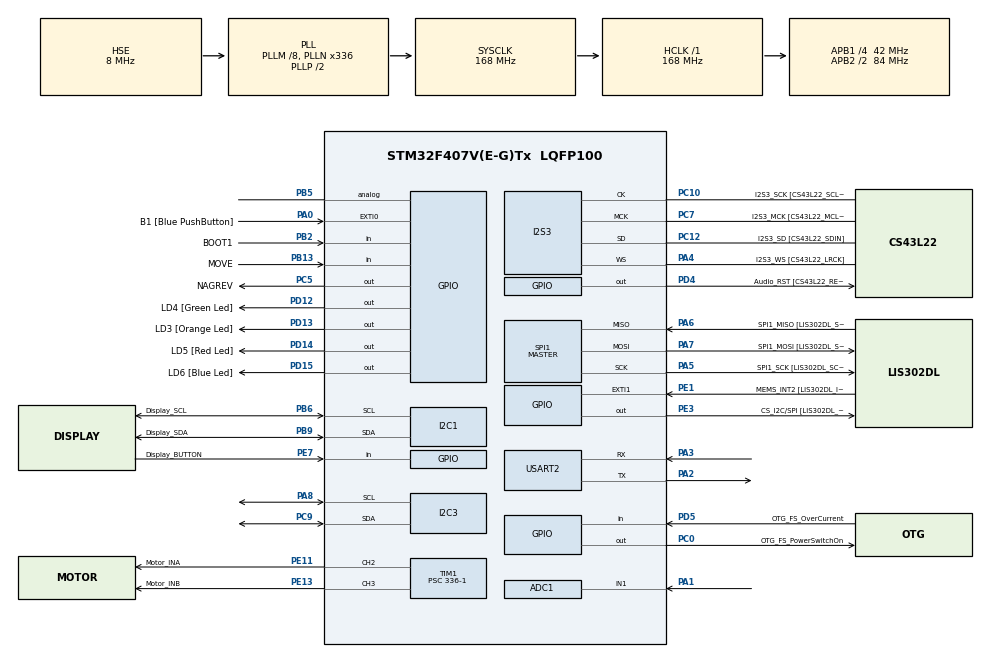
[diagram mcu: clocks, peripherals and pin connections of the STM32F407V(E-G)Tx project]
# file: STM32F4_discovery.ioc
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ADC1.Channel-0\#ChannelRegularConversion=ADC_CHANNEL_1
ADC1.NbrOfConversionFlag=1
ADC1.Rank-0\#ChannelRegularConversion=1
ADC1.SamplingTime-0\#ChannelRegularConversion=ADC_SAMPLETIME_3CYCLES
ADC1.master=1
Dma.ADC1.0.Direction=DMA_PERIPH_TO_MEMORY
Dma.ADC1.0.FIFOMode=DMA_FIFOMODE_DISABLE
Dma.ADC1.0.Instance=DMA2_Stream0
Dma.ADC1.0.MemDataAlignment=DMA_MDATAALIGN_HALFWORD
Dma.ADC1.0.MemInc=DMA_MINC_ENABLE
Dma.ADC1.0.Mode=DMA_CIRCULAR
Dma.ADC1.0.PeriphDataAlignment=DMA_PDATAALIGN_HALFWORD
Dma.ADC1.0.PeriphInc=DMA_PINC_DISABLE
Dma.ADC1.0.Priority=DMA_PRIORITY_LOW
Dma.Request0=ADC1
I2C1.I2C_Mode=I2C_Fast
I2C3.I2C_Mode=I2C_Fast
I2S3.AudioFreq-Half_Duplex_Master=I2S_AUDIOFREQ_96K
I2S3.ErrorAudioFreq=-2.34 %
I2S3.ErrorAudioFreq-Half_Duplex_Master=0.8 %
I2S3.FullDuplexMode=I2S_FULLDUPLEXMODE_DISABLE
I2S3.Instance=SPI$Index
I2S3.RealAudioFreq=93.75 KHz
I2S3.RealAudioFreq-Half_Duplex_Master=96.774 KHz
I2S3.VirtualMode=I2S_MODE_MASTER
Mcu.Family=STM32F4
Mcu.Name=STM32F407V(E-G)Tx
Mcu.Package=LQFP100
NVIC.DMA2_Stream0_IRQn=true\:0\:0\:false\:false\:true\:false\:true
NVIC.PriorityGroup=NVIC_PRIORITYGROUP_0
NVIC.USART2_IRQn=true\:0\:0\:false\:false\:true\:true\:true
PA0-WKUP.GPIO_Label=B1 [Blue PushButton]
PA0-WKUP.GPIO_ModeDefaultEXTI=GPIO_MODE_EVT_RISING
PA0-WKUP.GPIO_PuPd=GPIO_NOPULL
PA0-WKUP.Signal=GPXTI0
PA1.Signal=ADCx_IN1
PA12.GPIO_Label=OTG_FS_DP
PA12.GPIO_Mode=GPIO_MODE_AF_PP
PA12.GPIO_PuPd=GPIO_NOPULL
PA12.GPIO_Speed=GPIO_SPEED_FREQ_LOW
PA12.Signal=USB_OTG_FS_DP
PA13.GPIO_Label=SWDIO
PA13.Mode=Serial_Wire
PA13.Signal=SYS_JTMS-SWDIO
PA14.GPIO_Label=SWCLK
PA14.Mode=Serial_Wire
PA14.Signal=SYS_JTCK-SWCLK
PA2.Mode=Asynchronous
PA2.Signal=USART2_TX
PA3.Mode=Asynchronous
PA3.Signal=USART2_RX
PA4.GPIO_Label=I2S3_WS [CS43L22_LRCK]
PA4.GPIO_Mode=GPIO_MODE_AF_PP
PA4.GPIO_PuPd=GPIO_NOPULL
PA4.GPIO_Speed=GPIO_SPEED_FREQ_LOW
PA4.Mode=Half_Duplex_Master
PA4.Signal=I2S3_WS
PA5.GPIO_Label=SPI1_SCK [LIS302DL_SCL/SPC]
PA5.GPIO_Mode=GPIO_MODE_AF_PP
PA5.GPIO_PuPd=GPIO_NOPULL
PA5.GPIO_Speed=GPIO_SPEED_FREQ_LOW
PA5.Mode=Full_Duplex_Master
PA5.Signal=SPI1_SCK
PA6.GPIO_Label=SPI1_MISO [LIS302DL_SDO]
PA6.GPIO_Mode=GPIO_MODE_AF_PP
PA6.GPIO_PuPd=GPIO_NOPULL
PA6.GPIO_Speed=GPIO_SPEED_FREQ_LOW
PA6.Mode=Full_Duplex_Master
PA6.Signal=SPI1_MISO
PA7.GPIO_Label=SPI1_MOSI [LIS302DL_SDA/SDI/SDO]
PA7.GPIO_Mode=GPIO_MODE_AF_PP
PA7.GPIO_PuPd=GPIO_NOPULL
PA7.GPIO_Speed=GPIO_SPEED_FREQ_LOW
PA7.Mode=Full_Duplex_Master
PA7.Signal=SPI1_MOSI
PA8.Mode=I2C
PA8.Signal=I2C3_SCL
PA9.GPIO_Label=VBUS_FS
PA9.GPIO_Mode=GPIO_MODE_INPUT
PA9.GPIO_PuPd=GPIO_NOPULL
PA9.Signal=USB_OTG_FS_VBUS
PB10.GPIO_Label=CLK_IN [MP45DT02_CLK]
PB10.GPIO_Mode=GPIO_MODE_AF_PP
PB10.GPIO_PuPd=GPIO_NOPULL
PB10.GPIO_Speed=GPIO_SPEED_FREQ_LOW
PB10.Signal=I2S2_CK
PB13.GPIO_Label=MOVE
PB13.Signal=GPIO_Input
PB2.GPIO_Label=BOOT1
PB2.GPIO_Mode=GPIO_MODE_INPUT
PB2.GPIO_PuPd=GPIO_NOPULL
PB2.Signal=GPIO_Input
PB3.GPIO_Label=SWO
PB3.Signal=SYS_JTDO-SWO
PB5.Signal=GPIO_Analog
PB6.GPIO_Label=Display_SCL
PB6.GPIO_Mode=GPIO_MODE_AF_OD
PB6.GPIO_PuPd=GPIO_NOPULL
PB6.GPIO_Speed=GPIO_SPEED_FREQ_LOW
PB6.Mode=I2C
PB6.Signal=I2C1_SCL
PB9.GPIO_Label=Display_SDA
PB9.GPIO_Mode=GPIO_MODE_AF_OD
PB9.GPIO_PuPd=GPIO_NOPULL
PB9.GPIO_Speed=GPIO_SPEED_FREQ_LOW
PB9.Mode=I2C
PB9.Signal=I2C1_SDA
PC0.GPIO_Label=OTG_FS_PowerSwitchOn
PC0.GPIO_PuPd=GPIO_NOPULL
PC0.GPIO_Speed=GPIO_SPEED_FREQ_LOW
PC0.PinState=GPIO_PIN_SET
PC0.Signal=GPIO_Output
PC10.GPIO_Label=I2S3_SCK [CS43L22_SCLK]
PC10.GPIO_Mode=GPIO_MODE_AF_PP
PC10.GPIO_PuPd=GPIO_NOPULL
PC10.GPIO_Speed=GPIO_SPEED_FREQ_LOW
PC10.Mode=Half_Duplex_Master
PC10.Signal=I2S3_CK
PC12.GPIO_Label=I2S3_SD [CS43L22_SDIN]
PC12.GPIO_Mode=GPIO_MODE_AF_PP
PC12.GPIO_PuPd=GPIO_NOPULL
PC12.GPIO_Speed=GPIO_SPEED_FREQ_LOW
PC12.Mode=Half_Duplex_Master
PC12.Signal=I2S3_SD
PC14-OSC32_IN.GPIO_Label=PC14-OSC32_IN
PC14-OSC32_IN.Mode=LSE-External-Oscillator
PC14-OSC32_IN.Signal=RCC_OSC32_IN
PC15-OSC32_OUT.GPIO_Label=PC15-OSC32_OUT
PC15-OSC32_OUT.Mode=LSE-External-Oscillator
PC15-OSC32_OUT.Signal=RCC_OSC32_OUT
PC3.GPIO_Label=PDM_OUT [MP45DT02_DOUT]
PC3.GPIO_Mode=GPIO_MODE_AF_PP
PC3.GPIO_PuPd=GPIO_NOPULL
PC3.GPIO_Speed=GPIO_SPEED_FREQ_LOW
PC3.Signal=I2S2_SD
PC5.GPIO_Label=NAGREV
PC5.GPIO_PuPd=GPIO_PULLDOWN
PC5.Signal=GPIO_Output
PC7.GPIO_Label=I2S3_MCK [CS43L22_MCLK]
PC7.GPIO_Mode=GPIO_MODE_AF_PP
PC7.GPIO_PuPd=GPIO_NOPULL
PC7.GPIO_Speed=GPIO_SPEED_FREQ_LOW
PC7.Mode=Master_Clock_Activated
PC7.Signal=I2S3_MCK
PC9.Mode=I2C
PC9.Signal=I2C3_SDA
PD12.GPIO_Label=LD4 [Green Led]
PD12.GPIO_PuPd=GPIO_NOPULL
PD12.GPIO_Speed=GPIO_SPEED_FREQ_LOW
PD12.Signal=GPIO_Output
PD13.GPIO_Label=LD3 [Orange Led]
PD13.GPIO_PuPd=GPIO_NOPULL
PD13.GPIO_Speed=GPIO_SPEED_FREQ_LOW
PD13.Signal=GPIO_Output
PD14.GPIO_Label=LD5 [Red Led]
PD14.GPIO_PuPd=GPIO_NOPULL
PD14.GPIO_Speed=GPIO_SPEED_FREQ_LOW
PD14.Signal=GPIO_Output
PD15.GPIO_Label=LD6 [Blue Led]
PD15.GPIO_PuPd=GPIO_NOPULL
PD15.GPIO_Speed=GPIO_SPEED_FREQ_LOW
PD15.Signal=GPIO_Output
PD4.GPIO_Label=Audio_RST [CS43L22_RESET]
PD4.GPIO_PuPd=GPIO_NOPULL
PD4.GPIO_Speed=GPIO_SPEED_FREQ_LOW
PD4.Signal=GPIO_Output
PD5.GPIO_Label=OTG_FS_OverCurrent
PD5.GPIO_Mode=GPIO_MODE_INPUT
PD5.GPIO_PuPd=GPIO_NOPULL
PD5.Signal=GPIO_Input
PE1.GPIO_Label=MEMS_INT2 [LIS302DL_INT2]
PE1.GPIO_ModeDefaultEXTI=GPIO_MODE_EVT_RISING
PE1.GPIO_PuPd=GPIO_NOPULL
PE1.Signal=GPXTI1
PE11.GPIO_Label=Motor_INA
PE11.GPIO_Speed=GPIO_SPEED_FREQ_MEDIUM
PE11.Signal=S_TIM1_CH2
PE13.GPIO_Label=Motor_INB
PE13.GPIO_Speed=GPIO_SPEED_FREQ_MEDIUM
PE13.Signal=S_TIM1_CH3
PE3.GPIO_Label=CS_I2C/SPI [LIS302DL_CS_I2C/SPI]
PE3.GPIO_PuPd=GPIO_NOPULL
PE3.GPIO_Speed=GPIO_SPEED_FREQ_LOW
PE3.Signal=GPIO_Output
PE7.GPIO_Label=Display_BUTTON
PE7.Signal=GPIO_Input
PH0-OSC_IN.GPIO_Label=PH0-OSC_IN
PH0-OSC_IN.Mode=HSE-External-Oscillator
PH0-OSC_IN.Signal=RCC_OSC_IN
PH1-OSC_OUT.GPIO_Label=PH1-OSC_OUT
PH1-OSC_OUT.Mode=HSE-External-Oscillator
PH1-OSC_OUT.Signal=RCC_OSC_OUT
ProjectManager.HeapSize=0x200
ProjectManager.StackSize=0x400
ProjectManager.TargetToolchain=STM32CubeIDE
RCC.48MHZClocksFreq_Value=48000000
RCC.AHBFreq_Value=168000000
RCC.APB1CLKDivider=RCC_HCLK_DIV4
RCC.APB1Freq_Value=42000000
RCC.APB1TimFreq_Value=84000000
RCC.APB2CLKDivider=RCC_HCLK_DIV2
RCC.APB2Freq_Value=84000000
RCC.APB2TimFreq_Value=168000000
RCC.CortexFreq_Value=168000000
RCC.HCLKFreq_Value=168000000
RCC.HSE_VALUE=8000000
RCC.HSI_VALUE=16000000
RCC.PLLM=8
RCC.PLLN=336
RCC.PLLQ=7
RCC.PLLSourceVirtual=RCC_PLLSOURCE_HSE
RCC.SYSCLKFreq_VALUE=168000000
RCC.SYSCLKSource=RCC_SYSCLKSOURCE_PLLCLK
RCC.VCOOutputFreq_Value=336000000
SH.ADCx_IN1.0=ADC1_IN1,IN1
SH.S_TIM1_CH2.0=TIM1_CH2,PWM Generation2 CH2
SH.S_TIM1_CH3.0=TIM1_CH3,PWM Generation3 CH3
SPI1.BaudRatePrescaler-Full_Duplex_Master=SPI_BAUDRATEPRESCALER_2
SPI1.CalculateBaudRate-Full_Duplex_Master=42.0 MBits/s
SPI1.Direction=SPI_DIRECTION_2LINES
SPI1.Mode=SPI_MODE_MASTER
SPI1.Mode-Full_Duplex_Master=SPI_MODE_MASTER
SPI1.VirtualType=VM_MASTER
TIM1.Channel-PWM\ Generation2\ CH2=TIM_CHANNEL_2
TIM1.Channel-PWM\ Generation3\ CH3=TIM_CHANNEL_3
TIM1.Period=500-1
TIM1.Prescaler=336-1
TIM6.Period=700-1
TIM6.Prescaler=6000-1
USART2.VirtualMode=VM_ASYNC
VP_TIM6_VS_ClockSourceINT.Mode=Enable_Timer
board=STM32F407G-DISC1

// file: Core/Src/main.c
/* USER CODE BEGIN Header */
/**
  ******************************************************************************
  * @file           : main.c
  * @brief          : Main program body
  ******************************************************************************
  * @attention
  *
  * <h2><center>&copy; Copyright (c) 2022 STMicroelectronics.
  * All rights reserved.</center></h2>
  *
  * This software component is licensed by ST under Ultimate Liberty license
  * SLA0044, the "License"; You may not use this file except in compliance with
  * the License. You may obtain a copy of the License at:
  *                             www.st.com/SLA0044
  *
  ******************************************************************************
  */
/* USER CODE END Header */
#include "main.h"

/* USER CODE BEGIN Includes */
#include <string.h>
#include "ssd1306.h"
#include "fonts.h"
#include "test.h"
#include <math.h>
#include "horse_animation.h"
#include <stdio.h>

/* USER CODE END Includes */

/* USER CODE BEGIN PTD */
uint8_t pBuffer[64];
uint16_t speed_1 = 0;
uint8_t Rh_byte1, Rh_byte2, Temp_byte1, Temp_byte2;
uint16_t SUM, RH, TEMP;

float Temperature = 0;
float Humidity = 0;
uint8_t Presence = 0;
float needed_temp = 25;

int cycle_counter = 0;
int vent_status = 0;
int heat_status = 0;
int door_status = 0;
int Dis_Button = 0;

/* USER CODE END PTD */

/* USER CODE BEGIN PD */
#define DHT11_PORT GPIOA
#define DHT11_PIN GPIO_PIN_5

#define    DWT_CYCCNT    *(volatile unsigned long *)0xE0001004
#define    DWT_CONTROL   *(volatile unsigned long *)0xE0001000
#define    SCB_DEMCR     *(volatile unsigned long *)0xE000EDFC

/* USER CODE END PD */

ADC_HandleTypeDef hadc1;
DMA_HandleTypeDef hdma_adc1;

I2C_HandleTypeDef hi2c1;
I2C_HandleTypeDef hi2c3;

I2S_HandleTypeDef hi2s3;

SPI_HandleTypeDef hspi1;

TIM_HandleTypeDef htim1;
TIM_HandleTypeDef htim6;

UART_HandleTypeDef huart2;

void SystemClock_Config(void);
static void MX_GPIO_Init(void);
static void MX_DMA_Init(void);
static void MX_I2C1_Init(void);
static void MX_I2S3_Init(void);
static void MX_SPI1_Init(void);
static void MX_USART2_UART_Init(void);
static void MX_TIM1_Init(void);
static void MX_I2C3_Init(void);
static void MX_ADC1_Init(void);
static void MX_TIM6_Init(void);

/* USER CODE BEGIN 0 */
void Set_Pin_Output (GPIO_TypeDef *GPIOx, uint16_t GPIO_Pin)
{
    GPIO_InitTypeDef GPIO_InitStruct = {0};
    GPIO_InitStruct.Pin = GPIO_Pin;
    GPIO_InitStruct.Mode = GPIO_MODE_OUTPUT_PP;
    GPIO_InitStruct.Speed = GPIO_SPEED_FREQ_LOW;
    HAL_GPIO_Init(GPIOx, &GPIO_InitStruct);
}

void Set_Pin_Input (GPIO_TypeDef *GPIOx, uint16_t GPIO_Pin)
{
    GPIO_InitTypeDef GPIO_InitStruct = {0};
    GPIO_InitStruct.Pin = GPIO_Pin;
    GPIO_InitStruct.Mode = GPIO_MODE_INPUT;
    GPIO_InitStruct.Pull = GPIO_PULLUP;
    HAL_GPIO_Init(GPIOx, &GPIO_InitStruct);
}

void Transmit_to_ESP(uint8_t data[6]){
    int size = strlen(data);
    //uint8_t[] temp = data;
    //data = size + temp;
    HAL_UART_Transmit_IT(&huart2, data, size);
}
/*
void Recieve_from_ESP(){

}

*/

void Horse_animation(int c)
{
    for (int i = 0; i<c; i++) {
        SSD1306_Clear();
        SSD1306_DrawBitmap(0, 0, horse1, 128, 64, 1);
        SSD1306_UpdateScreen();

        SSD1306_Clear();
        SSD1306_DrawBitmap(0, 0, horse2, 128, 64, 1);
        SSD1306_UpdateScreen();

        SSD1306_Clear();
        SSD1306_DrawBitmap(0, 0, horse3, 128, 64, 1);
        SSD1306_UpdateScreen();

        SSD1306_Clear();
        SSD1306_DrawBitmap(0, 0, horse4, 128, 64, 1);
        SSD1306_UpdateScreen();

        SSD1306_Clear();
        SSD1306_DrawBitmap(0, 0, horse5, 128, 64, 1);
        SSD1306_UpdateScreen();

        SSD1306_Clear();
        SSD1306_DrawBitmap(0, 0, horse6, 128, 64, 1);
        SSD1306_UpdateScreen();

        SSD1306_Clear();
        SSD1306_DrawBitmap(0, 0, horse7, 128, 64, 1);
        SSD1306_UpdateScreen();

        SSD1306_Clear();
        SSD1306_DrawBitmap(0, 0, horse8, 128, 64, 1);
        SSD1306_UpdateScreen();

        SSD1306_Clear();
        SSD1306_DrawBitmap(0, 0, horse9, 128, 64, 1);
        SSD1306_UpdateScreen();

        SSD1306_Clear();
        SSD1306_DrawBitmap(0, 0, horse10, 128, 64, 1);
        SSD1306_UpdateScreen();
    }

}

void setPWMforward(uint16_t value) // ch3 для INB ch2 для INA
{
    TIM_OC_InitTypeDef sConfigOC;

    sConfigOC.OCMode = TIM_OCMODE_PWM1;
    sConfigOC.Pulse = value;
    sConfigOC.OCPolarity = TIM_OCPOLARITY_HIGH;
    sConfigOC.OCFastMode = TIM_OCFAST_DISABLE;
    HAL_TIM_PWM_ConfigChannel(&htim1, &sConfigOC, TIM_CHANNEL_3); // таймер №1, канал №3
    HAL_TIM_PWM_Start(&htim1, TIM_CHANNEL_3);
}

void setPWMbackward(uint16_t value) // ch3 для INB ch2 для INA
{
    TIM_OC_InitTypeDef sConfigOC;

    sConfigOC.OCMode = TIM_OCMODE_PWM1;
    sConfigOC.Pulse = value;
    sConfigOC.OCPolarity = TIM_OCPOLARITY_HIGH;
    sConfigOC.OCFastMode = TIM_OCFAST_DISABLE;
    HAL_TIM_PWM_ConfigChannel(&htim1, &sConfigOC, TIM_CHANNEL_2); // таймер №1, канал №2
    HAL_TIM_PWM_Start(&htim1, TIM_CHANNEL_2);
}

void ride_moto(int spB,int spF)
{
    setPWMbackward(spB);
    setPWMforward(spF);
    //HAL_Delay(tm*1000);
}

void UART_swipe(float temp, float Pht_Lux, float Hum, char Move_status, int heat, int vent, int door)
{
    int Hum_int = Hum*10;
    int temp_int = temp*10;
    int Pht_Lux_Int = Pht_Lux;

    char* string = "{temp:00000:hum:00000:il:00000:dr:0:heat:0:vent:0:rmId:01:mv:0}";
    for (int i = 0; i < 63; i++){
        pBuffer[i+1] = string[i];
    }

    pBuffer[0] = 16;
    pBuffer[7] = temp_int/100 + 48;
    pBuffer[8] = (temp_int/10)%10 +48;
    pBuffer[9] = '.';
    pBuffer[10] = (temp_int%10) + 48;
    pBuffer[11] = '0';
    pBuffer[17] = Hum_int/100 + 48;
    pBuffer[18] = (Hum_int/10)%10 +48;
    pBuffer[19] = '.';
    pBuffer[20] = (Hum_int%10) + 48;
    //pBuffer[26] = Pht_Lux_Int/10 +48;
    //pBuffer[27] = Pht_Lux_Int%10 +48;
    pBuffer[35] = door + 48;
    pBuffer[42] = heat + 48;
    pBuffer[49] = vent + 48;
    pBuffer[62] = Move_status;

    HAL_UART_Transmit_IT(&huart2, pBuffer, 64);
}

void Display_update(float temp, float hum, float Pht_Lux, int set_temp,  int Button)
{
    int Hum_int = hum*10;
    int temp_int = temp*10;
    int Pht_Lux_int = Pht_Lux*10;
    set_temp = set_temp*10;

    char* pBuffer1 = "Temperature";

    char stringT3[9] = "Illum 00L";
    stringT3[8] = set_temp/100 + 48;
    stringT3[7] = (set_temp/10)%10 +48;
    //stringT2[13] = (set_temp%10) + 48;

    char stringT2[14] = "Set Temp 00. C";
    stringT2[9] = ' ';
    stringT2[10] = set_temp/100 + 48;
    stringT2[11] = (set_temp/10)%10 +48;
    //stringT2[13] = (set_temp%10) + 48;

    char stringT[16] = "Temperatur 00. C";
    stringT[11] = temp_int/100 + 48;
    stringT[12] = (temp_int/10)%10 +48;
    stringT[14] = (temp_int%10) + 48;

    char stringT1[14] = "Humidity 00.0%";
    stringT1[9] = Hum_int/100 + 48;
    stringT1[10] = (Hum_int/10)%10 +48;
    stringT1[12] = (Hum_int%10) + 48;

    //sprintf(stringT, "Temperature %d", temp_int/100);

    /*
    pBuffer1[13] = temp_int/100 + 48;
    pBuffer1[14] = (temp_int/10)%10 +48;
    pBuffer1[15] = '.';
    pBuffer1[16] = (temp_int%10) + 48;
    */
    if (Button == 1)
    {
        SSD1306_Clear();
        SSD1306_GotoXY (10,10); // goto 10, 10
        SSD1306_Puts (stringT2, &Font_7x10, 1);
        SSD1306_UpdateScreen();
    }
    else
    {
        SSD1306_Clear();
        SSD1306_GotoXY (10,10); // goto 10, 10
        SSD1306_Puts (stringT, &Font_7x10, 1); // print Hello
        SSD1306_GotoXY (10, 20);
        SSD1306_Puts (stringT1, &Font_7x10, 1);
        SSD1306_GotoXY (10, 30);
        SSD1306_Puts (stringT3, &Font_7x10, 1);
        SSD1306_UpdateScreen();

    }

    //pBuffer[11] = 'C';
    //pBuffer[17] = Hum_int/100 + 48;
    //pBuffer[18] = (Hum_int/10)%10 +48;
    //pBuffer[19] = '.';

}

static __inline uint32_t delta(uint32_t t0, uint32_t t1)
{
    return (t1 - t0);
}
void delay_us(uint32_t us)
{
    uint32_t t0 =  DWT->CYCCNT;
    uint32_t us_count_tic =  us * (SystemCoreClock/1000000);
    while (delta(t0, DWT->CYCCNT) < us_count_tic) ;
}

void DHT11_Start (void)
{
    Set_Pin_Output (DHT11_PORT, DHT11_PIN);  // set the pin as output
    HAL_GPIO_WritePin (DHT11_PORT, DHT11_PIN, 0);   // pull the pin low
    delay_us (18000);   // wait for 18ms
    HAL_GPIO_WritePin (DHT11_PORT, DHT11_PIN, 1);   // pull the pin high
    delay_us (20);   // wait for 20us
    Set_Pin_Input(DHT11_PORT, DHT11_PIN);    // set as input
}

uint8_t DHT11_Check_Response (void)
{
    uint8_t Response = 0;
    delay_us (40);
    if (!(HAL_GPIO_ReadPin (DHT11_PORT, DHT11_PIN)))
    {
        delay_us (80);
        if ((HAL_GPIO_ReadPin (DHT11_PORT, DHT11_PIN))) Response = 1;
        else Response = -1; // 255
    }
    while ((HAL_GPIO_ReadPin (DHT11_PORT, DHT11_PIN)));   // wait for the pin to go low

    return Response;
}

uint8_t DHT11_Read (void)
{
    uint8_t i,j;
    for (j=0;j<8;j++)
    {
        while (!(HAL_GPIO_ReadPin (DHT11_PORT, DHT11_PIN)));   // wait for the pin to go high
        delay_us (40);   // wait for 40 us
        if (!(HAL_GPIO_ReadPin (DHT11_PORT, DHT11_PIN)))   // if the pin is low
        {
            i&= ~(1<<(7-j));   // write 0
        }
        else i|= (1<<(7-j));  // if the pin is high, write 1
        while ((HAL_GPIO_ReadPin (DHT11_PORT, DHT11_PIN)));  // wait for the pin to go low
    }
    return i;
}

void RABOTAY_DATCHIK() {
    DHT11_Start();
    Presence = DHT11_Check_Response();
    Rh_byte1 = DHT11_Read ();
    Rh_byte2 = DHT11_Read ();
    Temp_byte1 = DHT11_Read ();
    Temp_byte2 = DHT11_Read ();
    SUM = DHT11_Read();

    TEMP = Temp_byte1;
    RH = Rh_byte1;

    Temperature = (float) TEMP;
    Humidity = (float) RH;
}

#define    DWT_CYCCNT    *(volatile unsigned long *)0xE0001004
#define    DWT_CONTROL   *(volatile unsigned long *)0xE0001000
#define    SCB_DEMCR     *(volatile unsigned long *)0xE000EDFC

void DWT_Init(void)
{
    //разрешаем использовать счётчик
    SCB_DEMCR |= CoreDebug_DEMCR_TRCENA_Msk;
    //обнуляем значение счётного регистра
    DWT_CYCCNT  = 0;
    //запускаем счётчик
    DWT_CONTROL |= DWT_CTRL_CYCCNTENA_Msk;
}

/* Photocell vars */
float Pht_R;
float Pht_Div;
float Pht_Temp;
char Move_status;
uint32_t Pht_Lux;
#define PHT_UP_R 10000.0F
#define PHT_10LX_R 50000.0F
#define PHT_GAMMA 0.8F
/* ADC vars */
uint16_t ADC_Raw[1];
/* Sheduler vars */
uint8_t Sch_100ms = 255;

/************** timer 4 irqhandler *************/
void HAL_TIM_PeriodElapsedCallback(TIM_HandleTypeDef *htim)
{
    if(htim->Instance == TIM4)
    {
        /* set every 100ms */
        Sch_100ms = 255;
    }
}

/* USER CODE END 0 */

int main(void)
{

  /* MCU Configuration--------------------------------------------------------*/

  /* Reset of all peripherals, Initializes the Flash interface and the Systick. */
  HAL_Init();

  /* Configure the system clock */
  SystemClock_Config();

  /* Initialize all configured peripherals */
  MX_GPIO_Init();
  MX_DMA_Init();
  MX_I2C1_Init();
  MX_I2S3_Init();
  MX_SPI1_Init();
  MX_USART2_UART_Init();
  MX_TIM1_Init();
  MX_I2C3_Init();
  MX_ADC1_Init();
  MX_TIM6_Init();
  /* USER CODE BEGIN 2 */

    /* adc calibration */
    HAL_ADCEx_InjectedStart(&hadc1);
    /* adc start */
    HAL_ADC_Start_DMA(&hadc1, (uint32_t*)ADC_Raw, 1);
    HAL_ADC_Start_IT(&hadc1);
    /* timer 4 start it (100ms) */
    HAL_TIM_Base_Start_IT(&htim6);
    DWT_Init();

    if (SSD1306_Init () == 0){
        HAL_GPIO_WritePin(GPIOD, LD4_Pin|LD3_Pin, GPIO_PIN_SET);
        HAL_Delay(100);
        HAL_GPIO_WritePin(GPIOD, LD4_Pin|LD3_Pin, GPIO_PIN_RESET);
        HAL_Delay(100);
        HAL_GPIO_WritePin(GPIOD, LD4_Pin|LD3_Pin, GPIO_PIN_SET);
        HAL_Delay(100);
        HAL_GPIO_WritePin(GPIOD, LD4_Pin|LD3_Pin, GPIO_PIN_RESET);

    }

    SSD1306_GotoXY (10,10); // goto 10, 10
    SSD1306_Puts ("UNDERGROUND", &Font_7x10, 1); // print Hello
    SSD1306_GotoXY (10, 30);
    SSD1306_Puts ("DOWNTOWN", &Font_7x10, 1);
    SSD1306_UpdateScreen();
    HAL_Delay(1500);

    Horse_animation(5);

  /* USER CODE END 2 */

  /* Infinite loop */
  while (1)
  {

    /* USER CODE BEGIN 3 */

      RABOTAY_DATCHIK();

     //--------------------Light Sensor-------------------------------*
      /*if(Sch_100ms)
      {
          Pht_R = HAL_ADC_GetValue(&hadc1);
          HAL_ADC_Start_IT(&hadc1);
          Pht_R = ((PHT_UP_R)/((4095.0)/(ADC_Raw[0])-1));
          Pht_Div = PHT_10LX_R/Pht_R;
          Pht_Temp = ((0.42*log(Pht_Div))/(PHT_GAMMA)) + 1;
          Pht_Lux = pow(10, Pht_Temp);
          Sch_100ms = 0;
      }*/

      //--------------------------Moving sensor-------------------------*
      if(HAL_GPIO_ReadPin(GPIOB,MOVE_Pin) == GPIO_PIN_SET){
          Move_status = '1';
      }
      else
      {
          Move_status = '0';
      }
      //----------------------------------------------------------------*

    HAL_GPIO_WritePin(GPIOD, LD4_Pin|LD3_Pin|LD5_Pin|LD6_Pin, GPIO_PIN_SET);
    HAL_Delay(100);
    HAL_GPIO_WritePin(GPIOD, LD4_Pin|LD3_Pin|LD5_Pin|LD6_Pin, GPIO_PIN_RESET);

      //--------------------------Climate control-------------------------*
        if (needed_temp > Temperature) {
            HAL_GPIO_WritePin(GPIOC, NAGREV_Pin, GPIO_PIN_SET);
            ride_moto(0,0);
            vent_status = 0;
            heat_status = 1;
         }
        if (needed_temp < Temperature){
            HAL_GPIO_WritePin(GPIOC, NAGREV_Pin, GPIO_PIN_RESET);
            ride_moto(500,0);
            vent_status = 1;
            heat_status = 0;
        }
        if (needed_temp == Temperature) {
            ride_moto(0,0);
            HAL_GPIO_WritePin(GPIOC, NAGREV_Pin, GPIO_PIN_RESET);
            vent_status = 0;
            heat_status = 0;
        }
      //---------------------------------------------------------------------*

        if (HAL_GPIO_ReadPin(Display_BUTTON_GPIO_Port, Display_BUTTON_Pin) == GPIO_PIN_RESET)
        {
            Dis_Button = 1;
        }
        else
        {
            Dis_Button = 0;
        }

      UART_swipe(Temperature, Pht_Lux, Humidity, Move_status, heat_status, vent_status, door_status);
      HAL_Delay(1500);

     Display_update(Temperature,Humidity,Pht_R,needed_temp,Dis_Button);
  }

  /* USER CODE END 3 */
}

void SystemClock_Config(void)
{
  RCC_OscInitTypeDef RCC_OscInitStruct = {0};
  RCC_ClkInitTypeDef RCC_ClkInitStruct = {0};
  RCC_PeriphCLKInitTypeDef PeriphClkInitStruct = {0};

  /** Configure the main internal regulator output voltage
  */
  __HAL_RCC_PWR_CLK_ENABLE();
  __HAL_PWR_VOLTAGESCALING_CONFIG(PWR_REGULATOR_VOLTAGE_SCALE1);
  /** Initializes the RCC Oscillators according to the specified parameters
  * in the RCC_OscInitTypeDef structure.
  */
  RCC_OscInitStruct.OscillatorType = RCC_OSCILLATORTYPE_HSE;
  RCC_OscInitStruct.HSEState = RCC_HSE_ON;
  RCC_OscInitStruct.PLL.PLLState = RCC_PLL_ON;
  RCC_OscInitStruct.PLL.PLLSource = RCC_PLLSOURCE_HSE;
  RCC_OscInitStruct.PLL.PLLM = 8;
  RCC_OscInitStruct.PLL.PLLN = 336;
  RCC_OscInitStruct.PLL.PLLP = RCC_PLLP_DIV2;
  RCC_OscInitStruct.PLL.PLLQ = 7;
  if (HAL_RCC_OscConfig(&RCC_OscInitStruct) != HAL_OK)
  {
    Error_Handler();
  }
  /** Initializes the CPU, AHB and APB buses clocks
  */
  RCC_ClkInitStruct.ClockType = RCC_CLOCKTYPE_HCLK|RCC_CLOCKTYPE_SYSCLK
                              |RCC_CLOCKTYPE_PCLK1|RCC_CLOCKTYPE_PCLK2;
  RCC_ClkInitStruct.SYSCLKSource = RCC_SYSCLKSOURCE_PLLCLK;
  RCC_ClkInitStruct.AHBCLKDivider = RCC_SYSCLK_DIV1;
  RCC_ClkInitStruct.APB1CLKDivider = RCC_HCLK_DIV4;
  RCC_ClkInitStruct.APB2CLKDivider = RCC_HCLK_DIV2;

  if (HAL_RCC_ClockConfig(&RCC_ClkInitStruct, FLASH_LATENCY_5) != HAL_OK)
  {
    Error_Handler();
  }
  PeriphClkInitStruct.PeriphClockSelection = RCC_PERIPHCLK_I2S;
  PeriphClkInitStruct.PLLI2S.PLLI2SN = 192;
  PeriphClkInitStruct.PLLI2S.PLLI2SR = 2;
  if (HAL_RCCEx_PeriphCLKConfig(&PeriphClkInitStruct) != HAL_OK)
  {
    Error_Handler();
  }
}

static void MX_ADC1_Init(void)
{

  ADC_ChannelConfTypeDef sConfig = {0};

  /** Configure the global features of the ADC (Clock, Resolution, Data Alignment and number of conversion)
  */
  hadc1.Instance = ADC1;
  hadc1.Init.ClockPrescaler = ADC_CLOCK_SYNC_PCLK_DIV4;
  hadc1.Init.Resolution = ADC_RESOLUTION_12B;
  hadc1.Init.ScanConvMode = DISABLE;
  hadc1.Init.ContinuousConvMode = DISABLE;
  hadc1.Init.DiscontinuousConvMode = DISABLE;
  hadc1.Init.ExternalTrigConvEdge = ADC_EXTERNALTRIGCONVEDGE_NONE;
  hadc1.Init.ExternalTrigConv = ADC_SOFTWARE_START;
  hadc1.Init.DataAlign = ADC_DATAALIGN_RIGHT;
  hadc1.Init.NbrOfConversion = 1;
  hadc1.Init.DMAContinuousRequests = DISABLE;
  hadc1.Init.EOCSelection = ADC_EOC_SINGLE_CONV;
  if (HAL_ADC_Init(&hadc1) != HAL_OK)
  {
    Error_Handler();
  }
  /** Configure for the selected ADC regular channel its corresponding rank in the sequencer and its sample time.
  */
  sConfig.Channel = ADC_CHANNEL_1;
  sConfig.Rank = 1;
  sConfig.SamplingTime = ADC_SAMPLETIME_3CYCLES;
  if (HAL_ADC_ConfigChannel(&hadc1, &sConfig) != HAL_OK)
  {
    Error_Handler();
  }

}

static void MX_I2C1_Init(void)
{

  hi2c1.Instance = I2C1;
  hi2c1.Init.ClockSpeed = 400000;
  hi2c1.Init.DutyCycle = I2C_DUTYCYCLE_2;
  hi2c1.Init.OwnAddress1 = 0;
  hi2c1.Init.AddressingMode = I2C_ADDRESSINGMODE_7BIT;
  hi2c1.Init.DualAddressMode = I2C_DUALADDRESS_DISABLE;
  hi2c1.Init.OwnAddress2 = 0;
  hi2c1.Init.GeneralCallMode = I2C_GENERALCALL_DISABLE;
  hi2c1.Init.NoStretchMode = I2C_NOSTRETCH_DISABLE;
  if (HAL_I2C_Init(&hi2c1) != HAL_OK)
  {
    Error_Handler();
  }

}

static void MX_I2C3_Init(void)
{

  hi2c3.Instance = I2C3;
  hi2c3.Init.ClockSpeed = 400000;
  hi2c3.Init.DutyCycle = I2C_DUTYCYCLE_2;
  hi2c3.Init.OwnAddress1 = 0;
  hi2c3.Init.AddressingMode = I2C_ADDRESSINGMODE_7BIT;
  hi2c3.Init.DualAddressMode = I2C_DUALADDRESS_DISABLE;
  hi2c3.Init.OwnAddress2 = 0;
  hi2c3.Init.GeneralCallMode = I2C_GENERALCALL_DISABLE;
  hi2c3.Init.NoStretchMode = I2C_NOSTRETCH_DISABLE;
  if (HAL_I2C_Init(&hi2c3) != HAL_OK)
  {
    Error_Handler();
  }

}

static void MX_I2S3_Init(void)
{

  hi2s3.Instance = SPI3;
  hi2s3.Init.Mode = I2S_MODE_MASTER_TX;
  hi2s3.Init.Standard = I2S_STANDARD_PHILIPS;
  hi2s3.Init.DataFormat = I2S_DATAFORMAT_16B;
  hi2s3.Init.MCLKOutput = I2S_MCLKOUTPUT_ENABLE;
  hi2s3.Init.AudioFreq = I2S_AUDIOFREQ_96K;
  hi2s3.Init.CPOL = I2S_CPOL_LOW;
  hi2s3.Init.ClockSource = I2S_CLOCK_PLL;
  hi2s3.Init.FullDuplexMode = I2S_FULLDUPLEXMODE_DISABLE;
  if (HAL_I2S_Init(&hi2s3) != HAL_OK)
  {
    Error_Handler();
  }

}

static void MX_SPI1_Init(void)
{

  /* SPI1 parameter configuration*/
  hspi1.Instance = SPI1;
  hspi1.Init.Mode = SPI_MODE_MASTER;
  hspi1.Init.Direction = SPI_DIRECTION_2LINES;
  hspi1.Init.DataSize = SPI_DATASIZE_8BIT;
  hspi1.Init.CLKPolarity = SPI_POLARITY_LOW;
  hspi1.Init.CLKPhase = SPI_PHASE_1EDGE;
  hspi1.Init.NSS = SPI_NSS_SOFT;
  hspi1.Init.BaudRatePrescaler = SPI_BAUDRATEPRESCALER_2;
  hspi1.Init.FirstBit = SPI_FIRSTBIT_MSB;
  hspi1.Init.TIMode = SPI_TIMODE_DISABLE;
  hspi1.Init.CRCCalculation = SPI_CRCCALCULATION_DISABLE;
  hspi1.Init.CRCPolynomial = 10;
  if (HAL_SPI_Init(&hspi1) != HAL_OK)
  {
    Error_Handler();
  }

}

static void MX_TIM1_Init(void)
{

  TIM_MasterConfigTypeDef sMasterConfig = {0};
  TIM_OC_InitTypeDef sConfigOC = {0};
  TIM_BreakDeadTimeConfigTypeDef sBreakDeadTimeConfig = {0};

  htim1.Instance = TIM1;
  htim1.Init.Prescaler = 336-1;
  htim1.Init.CounterMode = TIM_COUNTERMODE_UP;
  htim1.Init.Period = 500-1;
  htim1.Init.ClockDivision = TIM_CLOCKDIVISION_DIV1;
  htim1.Init.RepetitionCounter = 0;
  htim1.Init.AutoReloadPreload = TIM_AUTORELOAD_PRELOAD_DISABLE;
  if (HAL_TIM_PWM_Init(&htim1) != HAL_OK)
  {
    Error_Handler();
  }
  sMasterConfig.MasterOutputTrigger = TIM_TRGO_RESET;
  sMasterConfig.MasterSlaveMode = TIM_MASTERSLAVEMODE_DISABLE;
  if (HAL_TIMEx_MasterConfigSynchronization(&htim1, &sMasterConfig) != HAL_OK)
  {
    Error_Handler();
  }
  sConfigOC.OCMode = TIM_OCMODE_PWM1;
  sConfigOC.Pulse = 0;
  sConfigOC.OCPolarity = TIM_OCPOLARITY_HIGH;
  sConfigOC.OCNPolarity = TIM_OCNPOLARITY_HIGH;
  sConfigOC.OCFastMode = TIM_OCFAST_DISABLE;
  sConfigOC.OCIdleState = TIM_OCIDLESTATE_RESET;
  sConfigOC.OCNIdleState = TIM_OCNIDLESTATE_RESET;
  if (HAL_TIM_PWM_ConfigChannel(&htim1, &sConfigOC, TIM_CHANNEL_2) != HAL_OK)
  {
    Error_Handler();
  }
  if (HAL_TIM_PWM_ConfigChannel(&htim1, &sConfigOC, TIM_CHANNEL_3) != HAL_OK)
  {
    Error_Handler();
  }
  sBreakDeadTimeConfig.OffStateRunMode = TIM_OSSR_DISABLE;
  sBreakDeadTimeConfig.OffStateIDLEMode = TIM_OSSI_DISABLE;
  sBreakDeadTimeConfig.LockLevel = TIM_LOCKLEVEL_OFF;
  sBreakDeadTimeConfig.DeadTime = 0;
  sBreakDeadTimeConfig.BreakState = TIM_BREAK_DISABLE;
  sBreakDeadTimeConfig.BreakPolarity = TIM_BREAKPOLARITY_HIGH;
  sBreakDeadTimeConfig.AutomaticOutput = TIM_AUTOMATICOUTPUT_DISABLE;
  if (HAL_TIMEx_ConfigBreakDeadTime(&htim1, &sBreakDeadTimeConfig) != HAL_OK)
  {
    Error_Handler();
  }
  HAL_TIM_MspPostInit(&htim1);

}

static void MX_TIM6_Init(void)
{

  TIM_MasterConfigTypeDef sMasterConfig = {0};

  htim6.Instance = TIM6;
  htim6.Init.Prescaler = 6000-1;
  htim6.Init.CounterMode = TIM_COUNTERMODE_UP;
  htim6.Init.Period = 700-1;
  htim6.Init.AutoReloadPreload = TIM_AUTORELOAD_PRELOAD_DISABLE;
  if (HAL_TIM_Base_Init(&htim6) != HAL_OK)
  {
    Error_Handler();
  }
  sMasterConfig.MasterOutputTrigger = TIM_TRGO_RESET;
  sMasterConfig.MasterSlaveMode = TIM_MASTERSLAVEMODE_DISABLE;
  if (HAL_TIMEx_MasterConfigSynchronization(&htim6, &sMasterConfig) != HAL_OK)
  {
    Error_Handler();
  }

}

static void MX_USART2_UART_Init(void)
{

  huart2.Instance = USART2;
  huart2.Init.BaudRate = 115200;
  huart2.Init.WordLength = UART_WORDLENGTH_8B;
  huart2.Init.StopBits = UART_STOPBITS_1;
  huart2.Init.Parity = UART_PARITY_NONE;
  huart2.Init.Mode = UART_MODE_TX_RX;
  huart2.Init.HwFlowCtl = UART_HWCONTROL_NONE;
  huart2.Init.OverSampling = UART_OVERSAMPLING_16;
  if (HAL_UART_Init(&huart2) != HAL_OK)
  {
    Error_Handler();
  }

}

static void MX_DMA_Init(void)
{

  /* DMA controller clock enable */
  __HAL_RCC_DMA2_CLK_ENABLE();

  /* DMA interrupt init */
  /* DMA2_Stream0_IRQn interrupt configuration */
  HAL_NVIC_SetPriority(DMA2_Stream0_IRQn, 0, 0);
  HAL_NVIC_EnableIRQ(DMA2_Stream0_IRQn);

}

static void MX_GPIO_Init(void)
{
  GPIO_InitTypeDef GPIO_InitStruct = {0};

  /* GPIO Ports Clock Enable */
  __HAL_RCC_GPIOE_CLK_ENABLE();
  __HAL_RCC_GPIOC_CLK_ENABLE();
  __HAL_RCC_GPIOH_CLK_ENABLE();
  __HAL_RCC_GPIOA_CLK_ENABLE();
  __HAL_RCC_GPIOB_CLK_ENABLE();
  __HAL_RCC_GPIOD_CLK_ENABLE();

  /*Configure GPIO pin Output Level */
  HAL_GPIO_WritePin(CS_I2C_SPI_GPIO_Port, CS_I2C_SPI_Pin, GPIO_PIN_RESET);

  /*Configure GPIO pin Output Level */
  HAL_GPIO_WritePin(OTG_FS_PowerSwitchOn_GPIO_Port, OTG_FS_PowerSwitchOn_Pin, GPIO_PIN_SET);

  /*Configure GPIO pin Output Level */
  HAL_GPIO_WritePin(NAGREV_GPIO_Port, NAGREV_Pin, GPIO_PIN_RESET);

  /*Configure GPIO pin Output Level */
  HAL_GPIO_WritePin(GPIOD, LD4_Pin|LD3_Pin|LD5_Pin|LD6_Pin
                          |Audio_RST_Pin, GPIO_PIN_RESET);

  /*Configure GPIO pin : CS_I2C_SPI_Pin */
  GPIO_InitStruct.Pin = CS_I2C_SPI_Pin;
  GPIO_InitStruct.Mode = GPIO_MODE_OUTPUT_PP;
  GPIO_InitStruct.Pull = GPIO_NOPULL;
  GPIO_InitStruct.Speed = GPIO_SPEED_FREQ_LOW;
  HAL_GPIO_Init(CS_I2C_SPI_GPIO_Port, &GPIO_InitStruct);

  /*Configure GPIO pin : OTG_FS_PowerSwitchOn_Pin */
  GPIO_InitStruct.Pin = OTG_FS_PowerSwitchOn_Pin;
  GPIO_InitStruct.Mode = GPIO_MODE_OUTPUT_PP;
  GPIO_InitStruct.Pull = GPIO_NOPULL;
  GPIO_InitStruct.Speed = GPIO_SPEED_FREQ_LOW;
  HAL_GPIO_Init(OTG_FS_PowerSwitchOn_GPIO_Port, &GPIO_InitStruct);

  /*Configure GPIO pin : PDM_OUT_Pin */
  GPIO_InitStruct.Pin = PDM_OUT_Pin;
  GPIO_InitStruct.Mode = GPIO_MODE_AF_PP;
  GPIO_InitStruct.Pull = GPIO_NOPULL;
  GPIO_InitStruct.Speed = GPIO_SPEED_FREQ_LOW;
  GPIO_InitStruct.Alternate = GPIO_AF5_SPI2;
  HAL_GPIO_Init(PDM_OUT_GPIO_Port, &GPIO_InitStruct);

  /*Configure GPIO pin : B1_Pin */
  GPIO_InitStruct.Pin = B1_Pin;
  GPIO_InitStruct.Mode = GPIO_MODE_EVT_RISING;
  GPIO_InitStruct.Pull = GPIO_NOPULL;
  HAL_GPIO_Init(B1_GPIO_Port, &GPIO_InitStruct);

  /*Configure GPIO pin : NAGREV_Pin */
  GPIO_InitStruct.Pin = NAGREV_Pin;
  GPIO_InitStruct.Mode = GPIO_MODE_OUTPUT_PP;
  GPIO_InitStruct.Pull = GPIO_PULLDOWN;
  GPIO_InitStruct.Speed = GPIO_SPEED_FREQ_LOW;
  HAL_GPIO_Init(NAGREV_GPIO_Port, &GPIO_InitStruct);

  /*Configure GPIO pins : BOOT1_Pin MOVE_Pin */
  GPIO_InitStruct.Pin = BOOT1_Pin|MOVE_Pin;
  GPIO_InitStruct.Mode = GPIO_MODE_INPUT;
  GPIO_InitStruct.Pull = GPIO_NOPULL;
  HAL_GPIO_Init(GPIOB, &GPIO_InitStruct);

  /*Configure GPIO pin : Display_BUTTON_Pin */
  GPIO_InitStruct.Pin = Display_BUTTON_Pin;
  GPIO_InitStruct.Mode = GPIO_MODE_INPUT;
  GPIO_InitStruct.Pull = GPIO_NOPULL;
  HAL_GPIO_Init(Display_BUTTON_GPIO_Port, &GPIO_InitStruct);

  /*Configure GPIO pin : CLK_IN_Pin */
  GPIO_InitStruct.Pin = CLK_IN_Pin;
  GPIO_InitStruct.Mode = GPIO_MODE_AF_PP;
  GPIO_InitStruct.Pull = GPIO_NOPULL;
  GPIO_InitStruct.Speed = GPIO_SPEED_FREQ_LOW;
  GPIO_InitStruct.Alternate = GPIO_AF5_SPI2;
  HAL_GPIO_Init(CLK_IN_GPIO_Port, &GPIO_InitStruct);

  /*Configure GPIO pins : LD4_Pin LD3_Pin LD5_Pin LD6_Pin
                           Audio_RST_Pin */
  GPIO_InitStruct.Pin = LD4_Pin|LD3_Pin|LD5_Pin|LD6_Pin
                          |Audio_RST_Pin;
  GPIO_InitStruct.Mode = GPIO_MODE_OUTPUT_PP;
  GPIO_InitStruct.Pull = GPIO_NOPULL;
  GPIO_InitStruct.Speed = GPIO_SPEED_FREQ_LOW;
  HAL_GPIO_Init(GPIOD, &GPIO_InitStruct);

  /*Configure GPIO pin : VBUS_FS_Pin */
  GPIO_InitStruct.Pin = VBUS_FS_Pin;
  GPIO_InitStruct.Mode = GPIO_MODE_INPUT;
  GPIO_InitStruct.Pull = GPIO_NOPULL;
  HAL_GPIO_Init(VBUS_FS_GPIO_Port, &GPIO_InitStruct);

  /*Configure GPIO pin : OTG_FS_DP_Pin */
  GPIO_InitStruct.Pin = OTG_FS_DP_Pin;
  GPIO_InitStruct.Mode = GPIO_MODE_AF_PP;
  GPIO_InitStruct.Pull = GPIO_NOPULL;
  GPIO_InitStruct.Speed = GPIO_SPEED_FREQ_LOW;
  GPIO_InitStruct.Alternate = GPIO_AF10_OTG_FS;
  HAL_GPIO_Init(OTG_FS_DP_GPIO_Port, &GPIO_InitStruct);

  /*Configure GPIO pin : OTG_FS_OverCurrent_Pin */
  GPIO_InitStruct.Pin = OTG_FS_OverCurrent_Pin;
  GPIO_InitStruct.Mode = GPIO_MODE_INPUT;
  GPIO_InitStruct.Pull = GPIO_NOPULL;
  HAL_GPIO_Init(OTG_FS_OverCurrent_GPIO_Port, &GPIO_InitStruct);

  /*Configure GPIO pin : PB5 */
  GPIO_InitStruct.Pin = GPIO_PIN_5;
  GPIO_InitStruct.Mode = GPIO_MODE_ANALOG;
  GPIO_InitStruct.Pull = GPIO_NOPULL;
  HAL_GPIO_Init(GPIOB, &GPIO_InitStruct);

  /*Configure GPIO pin : MEMS_INT2_Pin */
  GPIO_InitStruct.Pin = MEMS_INT2_Pin;
  GPIO_InitStruct.Mode = GPIO_MODE_EVT_RISING;
  GPIO_InitStruct.Pull = GPIO_NOPULL;
  HAL_GPIO_Init(MEMS_INT2_GPIO_Port, &GPIO_InitStruct);

}

void Error_Handler(void)
{
}

/************************ (C) COPYRIGHT STMicroelectronics *****END OF FILE****/
